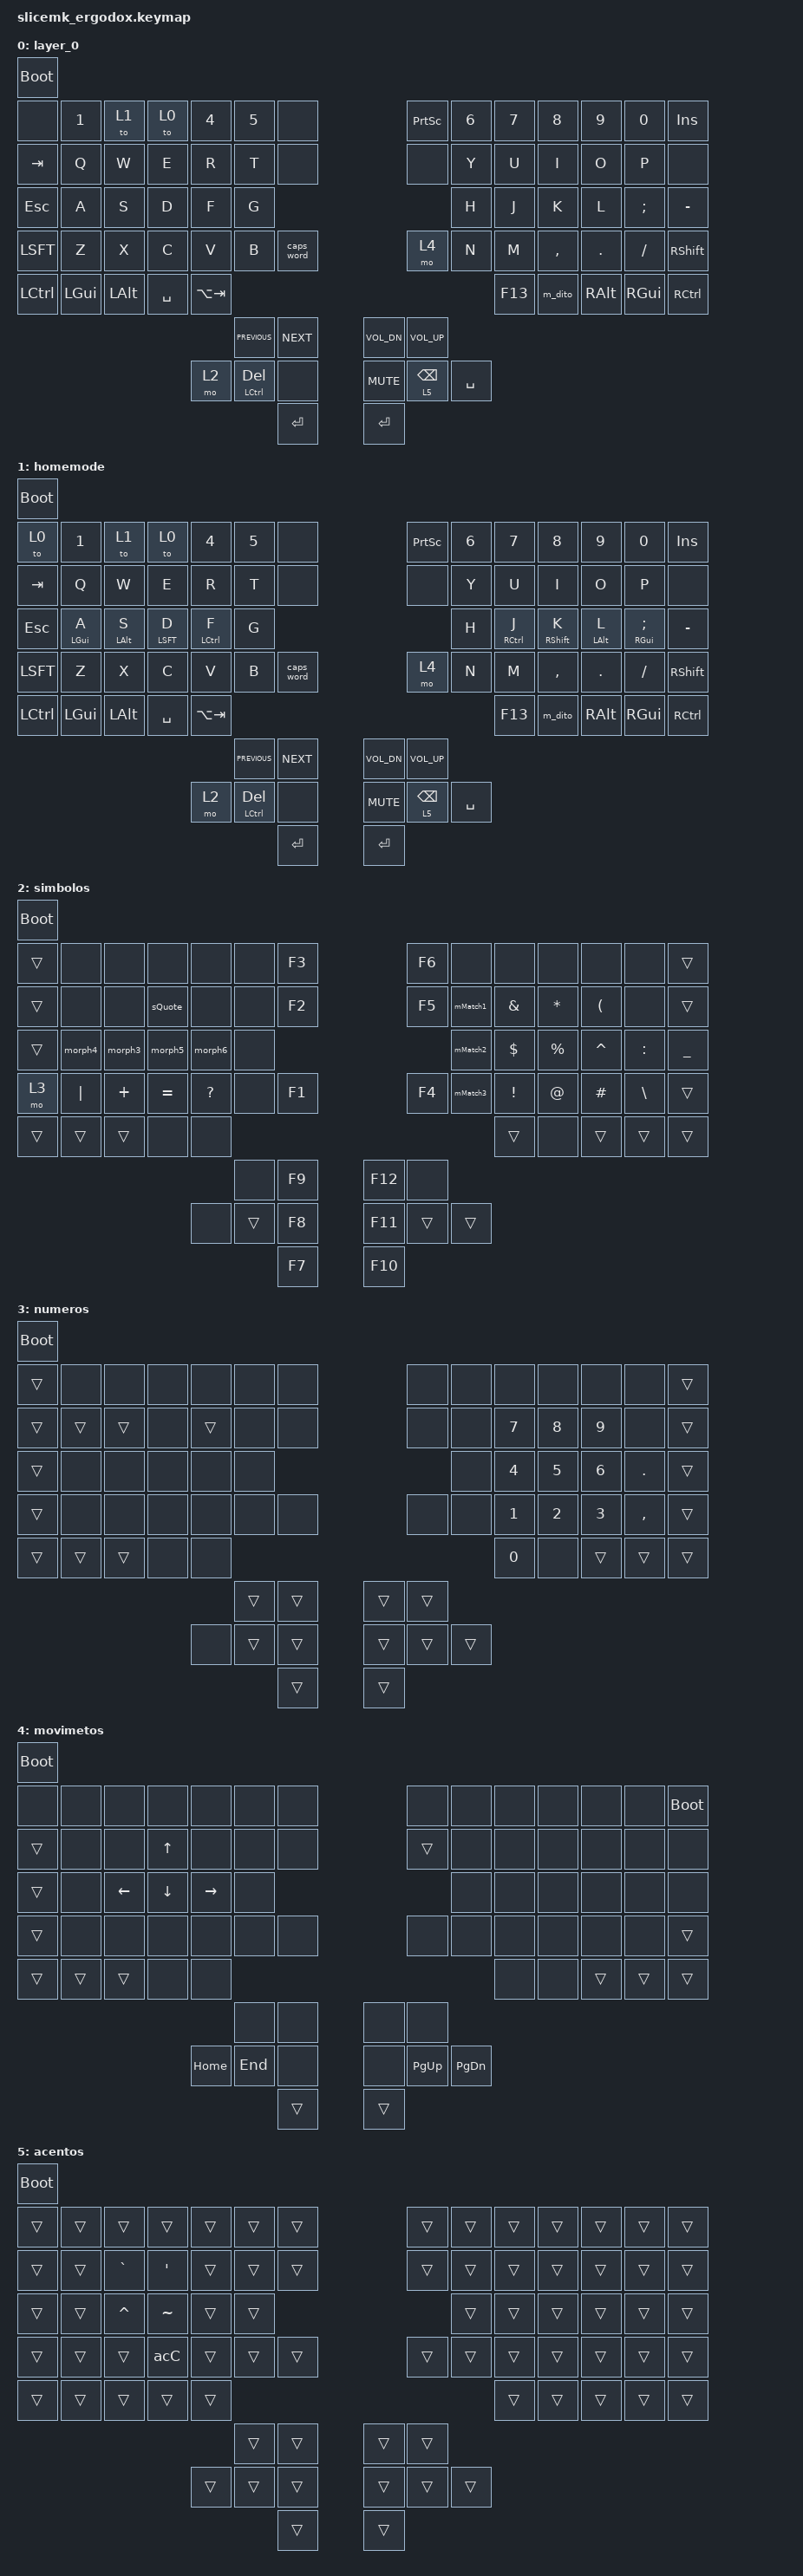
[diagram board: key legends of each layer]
#include <behaviors.dtsi>
#include <dt-bindings/zmk/bt.h>
#include <dt-bindings/zmk/keys.h>
#include <dt-bindings/zmk/outputs.h>



/ {

behaviors {
 	morph1: morph1{
 		compatible = "zmk,behavior-mod-morph";
 	   	label = "morph1";
 	   	#binding-cells = <0>;
 	   	bindings = <&kp APOSTROPHE>, <&kp GRAVE>;
 	   	mods = <(MOD_LSFT|MOD_RSFT)>;
 	};

 	morph2: morph2{
 		compatible = "zmk,behavior-mod-morph";
 	   	label = "morph2";
 	   	#binding-cells = <0>;
 	   	bindings = <&kp TILDE>, <&kp CARET>;
 	   	mods = <(MOD_LSFT|MOD_RSFT)>;
 	};

 	morph3: morph3{
 		compatible = "zmk,behavior-mod-morph";
 	   	label = "morph3";
 	   	#binding-cells = <0>;
 	   	bindings = <&kp LEFT_BRACE>, <&kp RIGHT_BRACE>;
 	   	mods = <(MOD_LSFT|MOD_RSFT)>;
 	};

 	morph4: morph4{
 		compatible = "zmk,behavior-mod-morph";
 	   	label = "morph4";
 	   	#binding-cells = <0>;
 	   	bindings = <&kp LPAR>, <&kp RPAR>;
 	   	mods = <(MOD_LSFT|MOD_RSFT)>;
 	};

 	morph5: morph5{
 		compatible = "zmk,behavior-mod-morph";
 	   	label = "morph5";
 	   	#binding-cells = <0>;
 	   	bindings = <&kp LBKT>, <&kp RBKT>;
 	   	mods = <(MOD_LSFT|MOD_RSFT)>;
 	};

 	morph6: morph6{
 		compatible = "zmk,behavior-mod-morph";
 	   	label = "morph6";
 	   	#binding-cells = <0>;
 	   	bindings = <&kp LESS_THAN>, <&kp GREATER_THAN>;
 	   	mods = <(MOD_LSFT|MOD_RSFT)>;
 	};

	gth: global-quick-tap {
    		compatible = "zmk,behavior-hold-tap";
    		label = "GLOBAL_QUICK_TAP";
    		#binding-cells = <2>;
    		flavor = "hold-preferred";
    		tapping-term-ms = <200>;
    		quick-tap-ms = <175>;
    		bindings = <&kp>, <&kp>;
	};

	gth3: global-quick-tap3 {
    		compatible = "zmk,behavior-hold-tap";
    		label = "GLOBAL_QUICK_TAP3";
    		#binding-cells = <2>;
    		flavor = "hold-preferred";
    		tapping-term-ms = <200>;
    		quick-tap-ms = <175>;
    		bindings = <&mo>, <&kp>;
	};

  	gth2: global-quick-tap2 {
    		compatible = "zmk,behavior-hold-tap";
    		label = "GLOBAL_QUICK_TAP2";
    		#binding-cells = <2>;
    		flavor = "tap-preferred";
    		tapping-term-ms = <200>;
    		quick-tap-ms = <300>;
    		bindings = <&kp>, <&kp>;
	};
	


};

	keymap {
		compatible = "zmk,keymap";
		layer_0 {
			bindings = <
				&bootloader
				&none    	&kp N1   	&to 1    	&to 0		&kp N4          &kp N5    &none      						     		&kp PRINTSCREEN 	&kp N6 	&kp N7  	&kp N8       	&kp N9   		&kp N0         	&kp INSERT
				&kp TAB  	&kp Q    	&kp W     	&kp E   	&kp R           &kp T     &none      						     		&none           	&kp Y  	&kp U   	&kp I         	&kp O    		&kp P         	&none
				&kp ESC  	&kp A &kp S     	&kp D   	&kp F           &kp G  	                           				     							&kp H  	&kp J  	    &kp K         	&kp L         	&kp SEMICOLON	&kp MINUS
				&kp LSFT 	&kp Z    	&kp X     	&kp C   	&kp V      		&kp B     &caps_word 						     		&mo 4           	&kp N  	&kp M   	&kp CMMA      	&kp DOT  		&kp FSLH       	&kp RSHFT
				&kp LCTL 	&kp LGUI 	&kp LALT	&kp SPACE   	&kp LA(TAB)	                                        		              				       	&kp F13 	&m_dito			&kp RALT		&kp RGUI      	&kp RCTL

															     				&kp C_PREVIOUS 	&kp C_NEXT				&kp C_VOL_DN 	&kp C_VOLUME_UP
				        									     &mo 2    		&gth LCTL DEL	&none          			&kp C_MUTE   	&gth3 5 BSPC        	&kp SPACE
				                                   								    	   		&kp RET    				&kp RET
			>;
		};

        homemode {
			bindings = <
				&bootloader
				&to 0    	&kp N1   		&to 1   		&to 0			&kp N4          &kp N5    &none      						     		&kp PRINTSCREEN 	&kp N6 	&kp N7  		&kp N8        	&kp N9   		&kp N0         			&kp INSERT
				&kp TAB  	&kp Q    		&kp W     		&kp E   		&kp R           &kp T     &none      						     		&none           	&kp Y  	&kp U   		&kp I         	&kp O    		&kp P         			&none
				&kp ESC  	&gth2 LGUI A    &gth2 LALT S    &gth2 LSFT D   	&gth2 LCTL F    &kp G  	                           				     						&kp H  	&gth2 RCTL J  	&gth2 RSHFT K   &gth2 LALT L    &gth2 RGUI SEMICOLON	&kp MINUS
				&kp LSFT 	&kp Z    		&kp X     		&kp C   		&kp V      		&kp B     &caps_word 						     		&mo 4           	&kp N  	&kp M   		&kp CMMA      	&kp DOT  		&kp FSLH       			&kp RSHFT
				&kp LCTL 	&kp LGUI 		&kp LALT		&kp SPACE   	&kp LA(TAB)	                                        		              				       		&kp F13 		&m_dito			&kp RALT		&kp RGUI      			&kp RCTL

															     				&kp C_PREVIOUS 	&kp C_NEXT				&kp C_VOL_DN 	&kp C_VOLUME_UP
				        									     &mo 2    		&gth LCTL DEL	&none          			&kp C_MUTE   	&gth3 5 BSPC        	&kp SPACE
				                                   								    	   		&kp RET    				&kp RET
			>;
		};
		simbolos {
			bindings = <
				&bootloader
				&trans 	 	&none          	&none     	&none     	&none          	&none     &kp F3 							     	&kp F6  		&none 		&none           &none 			&none					&none        	&trans
				&trans 	 	&none          	&none		&sQuote   	&none          	&none     &kp F2 							     	&kp F5  		&mMatch1 	&kp AMPERSAND   &kp ASTERISK  	&kp LEFT_PARENTHESIS 	&none        	&trans
				&trans 	 	&morph4			&morph3		&morph5		&morph6			&none         							     		           		&mMatch2 	&kp DOLLAR      &kp PERCENT   	&kp CARET            	&kp COLON    	&kp UNDERSCORE
				&mo 3  	 	&kp PIPE       	&kp PLUS  	&kp EQUAL 	&kp QUESTION	&none     &kp F1 							     	&kp F4  		&mMatch3 	&kp EXCLAMATION &kp AT_SIGN   	&kp HASH             	&kp BSLH		&trans
				&trans	 	&trans         	&trans    	&none     	&none                            								        	       			&trans 	       	&none         	&trans               	&trans       	&trans
																		      	&none  	     &kp F9 								&kp F12      &none
																	     &none    &trans		 &kp F8 								&kp F11      &trans 	 &trans
										                       								&kp F7 								&kp F10
			>;
		};
		numeros {
			bindings = <
				&bootloader
				&trans   	&none          	&none     	&none     	&none  		&none     &none  							    	&none  			&none  	&none           &none         	&none        	  	&none     	&trans
				&trans   	&trans         	&trans    	&none		&trans 		&none     &none  							     	&none  			&none  	&kp NUMBER_7    &kp NUMBER_8  	&kp NUMBER_9 	  	&none     	&trans
				&trans   	&none			&none		&none 		&none 		&none         							     		       			&none  	&kp NUMBER_4    &kp NUMBER_5  	&kp NUMBER_6 	  	&kp DOT   	&trans
				&trans   	&none			&none  		&none 		&none  		&none     &none  							     	&none  			&none  	&kp NUMBER_1    &kp NUMBER_2  	&kp NUMBER_3 	  	&kp COMMA 	&trans
				&trans   	&trans         	&trans    	&none     	&none                            								    		        	&kp NUMBER_0	&none         	&trans       	  	&trans    	&trans
																			     		&trans  	     &trans 		&trans 	     &trans
																		     &none    &trans   	     &trans 		&trans 	     &trans 	     	&trans
								                                  									    &trans 		&trans
			>;
		};
		movimetos {
			bindings = <
				&bootloader
				&none		&none  		&none     	&none     	&none           &none     &none  							     	&none  			&none  	&none           &none 	     	&none   		&none  		&bootloader
				&trans   	&none  		&none     	&kp UP   	&none           &none     &none  							     	&trans 			&none  	&none           &none 	     	&none   		&none  		&none
				&trans   	&none  		&kp LEFT  	&kp DOWN	&kp RIGHT		&none            							     		       		&none  	&none           &none 	     	&none   		&none  		&none
				&trans   	&none  		&none     	&none    	&none           &none     &none  							     	&none  			&none  	&none           &none 	     	&none   		&none  		&trans
				&trans   	&trans		&trans    	&none    	&none                                           								       		&none  		&none 	     	&trans 	          	&trans 		&trans
															      		&none	     &none  		&none	     &none
														     &kp HOME &kp END 	     &none  		&none  	     &kp PG_UP 	     	&kp PG_DN
				                        										   &trans 		&trans
			>;
		};
		acentos {
			bindings = <
				&bootloader
				&trans    	&trans  		&trans 	  	&trans   	&trans      		&trans     &trans 								&trans 			&trans 	&trans				&trans         	&trans    	&trans 		&trans
				&trans    	&trans  		&kp GRAVE  	&kp APOSTROPHE 	&trans 	   		&trans     &trans 								&trans 			&trans 	&trans				&trans 		&trans 		&trans 		&trans
				&trans    	&trans  		&kp CARET	&kp TILDE	&trans			&trans           										&trans   &trans 				&trans 		&trans 		&trans 		&trans
				&trans    	&trans  		&trans 	  	&acC    	&trans 	   		&trans     &trans 								&trans 			&trans 	&trans   			&trans         	&trans       	&trans 		&trans
				&trans    	&trans  		&trans 	  	&trans		&trans           														&trans   	&trans         		&trans        	&trans 		&trans
																			     		&trans  	     &trans 		&trans 	     &trans
																		     &trans    &trans   	     &trans 		&trans 	     &trans 	     	&trans
								                                  									    &trans 		&trans
			>;
		};

	};

	ZMK_MACRO(mMatch1,     	   wait-ms = <20>; tap-ms = <20>; bindings = <&macro_tap &kp LPAR>,    		<&macro_tap &kp RPAR>, 			<&macro_tap &kp LEFT>;)
	ZMK_MACRO(mMatch2,     	   wait-ms = <20>; tap-ms = <20>; bindings = <&macro_tap &kp LEFT_BRACE>, 	<&macro_tap &kp RIGHT_BRACE>, 	<&macro_tap &kp LEFT>;)
	ZMK_MACRO(mMatch3,     	   wait-ms = <20>; tap-ms = <20>; bindings = <&macro_tap &kp LBKT>, 		<&macro_tap &kp RBKT>, 			<&macro_tap &kp LEFT>;)
	
	ZMK_MACRO(dQuote,  wait-ms = <20>; tap-ms = <20>; bindings = <&macro_tap &kp DOUBLE_QUOTES>, <&macro_tap &kp SPACE>;)
	ZMK_MACRO(sQuote,  wait-ms = <20>; tap-ms = <20>; bindings = <&macro_tap &kp APOSTROPHE>, <&macro_tap &kp SPACE>;)
	ZMK_MACRO(acA1,     	   wait-ms = <20>; tap-ms = <20>; bindings = <&macro_tap &kp APOSTROPHE>,    <&macro_tap &kp A>;)
	ZMK_MACRO(m_acento_a2,     wait-ms = <20>; tap-ms = <20>; bindings = <&macro_tap &kp TILDE>,         <&macro_tap &kp A>;)
	ZMK_MACRO(m_acento_a3,     wait-ms = <20>; tap-ms = <20>; bindings = <&macro_tap &kp CARET>,         <&macro_tap &kp A>;)	
	ZMK_MACRO(m_acento_a4,     wait-ms = <20>; tap-ms = <20>; bindings = <&macro_tap &kp GRAVE>,         <&macro_tap &kp A>;)
	
	ZMK_MACRO(m_acento_o1,     wait-ms = <20>; tap-ms = <20>; bindings = <&macro_tap &kp APOSTROPHE>,    <&macro_tap &kp O>;)
	ZMK_MACRO(m_acento_o2,     wait-ms = <20>; tap-ms = <20>; bindings = <&macro_tap &kp TILDE>,         <&macro_tap &kp O>;)
	ZMK_MACRO(m_acento_o3,     wait-ms = <20>; tap-ms = <20>; bindings = <&macro_tap &kp CARET>,         <&macro_tap &kp O>;)
	
	ZMK_MACRO(acE1,     	   wait-ms = <20>; tap-ms = <20>; bindings = <&macro_tap &kp APOSTROPHE>,    <&macro_tap &kp E>;)
	ZMK_MACRO(m_acento_e2,     wait-ms = <20>; tap-ms = <20>; bindings = <&macro_tap &kp CARET>,         <&macro_tap &kp E>;)
	
	ZMK_MACRO(m_acento_u1,     wait-ms = <20>; tap-ms = <20>; bindings = <&macro_tap &kp APOSTROPHE>,    <&macro_tap &kp U>;)
	ZMK_MACRO(m_acento_i1,     wait-ms = <20>; tap-ms = <20>; bindings = <&macro_tap &kp APOSTROPHE>,    <&macro_tap &kp I>;)
	
	ZMK_MACRO(acC,      wait-ms = <20>; tap-ms = <20>; bindings = <&macro_tap &kp APOSTROPHE>,    <&macro_tap &kp C>;)
	
	macros {
		m_dito: m_dito {
		label = "ZM_dito";
		compatible = "zmk,behavior-macro";
		#binding-cells = <0>;
		bindings
			= <&macro_press &kp LCTL>
			, <&macro_tap &kp APOSTROPHE>
			, <&macro_release &kp LCTL>
			;
		};
	};

};
